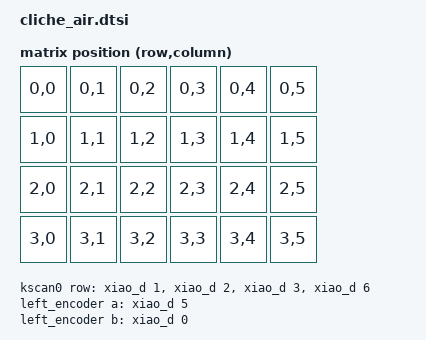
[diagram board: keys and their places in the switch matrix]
/*
 * Cliche_Air 共通ハードウェア定義
 * -----------------------------------------
 * 各サイド overlay (cliche_air_l.overlay / cliche_air_r.overlay) で
 * row-gpios, col-gpios, トラックボール, エンコーダなどを上書きする。
 */

#include <dt-bindings/zmk/matrix_transform.h>

/ {
	chosen {
		/* 
		 * デフォルトのキースキャンおよびマトリクス変換設定。
		 * これにより zmk_matrix_transform_default がリンク時に定義される。
		 */
		zmk,kscan = &kscan0;
		zmk,matrix-transform = &default_transform;
	};

	/* ---------------------------
	 * キーマトリクス変換ノード
	 * --------------------------- */
	default_transform: keymap_transform_0 {
		compatible = "zmk,matrix-transform";
		columns = <6>;
		rows = <4>;
		map = <
			RC(0,0) RC(0,1) RC(0,2) RC(0,3) RC(0,4) RC(0,5)
			RC(1,0) RC(1,1) RC(1,2) RC(1,3) RC(1,4) RC(1,5)
			RC(2,0) RC(2,1) RC(2,2) RC(2,3) RC(2,4) RC(2,5)
			RC(3,0) RC(3,1) RC(3,2) RC(3,3) RC(3,4) RC(3,5)
		>;
	};

	/* ---------------------------
	 * キースキャン定義（共通設定）
	 * --------------------------- */
	kscan0: kscan {
		compatible = "zmk,kscan-gpio-matrix";
		label = "KSCAN";
		diode-direction = "col2row";
		row-gpios = <&xiao_d 1 (GPIO_ACTIVE_HIGH | GPIO_PULL_DOWN)>,
		            <&xiao_d 2 (GPIO_ACTIVE_HIGH | GPIO_PULL_DOWN)>,
		            <&xiao_d 3 (GPIO_ACTIVE_HIGH | GPIO_PULL_DOWN)>,
		            <&xiao_d 6 (GPIO_ACTIVE_HIGH | GPIO_PULL_DOWN)>;
	};

	/* ---------------------------
	 * Rotary encoder (共通)
	 * --------------------------- */
	left_encoder: encoder_left {
		compatible = "alps,ec11";
		a-gpios = <&xiao_d 5 (GPIO_ACTIVE_HIGH | GPIO_PULL_UP)>;
		b-gpios = <&xiao_d 0 (GPIO_ACTIVE_HIGH | GPIO_PULL_UP)>;
		steps = <24>;
		status = "disabled";
	};

	right_encoder: encoder_right {
		status = "disabled";
	};

	sensors: sensors {
		compatible = "zmk,keymap-sensors";
		sensors = <&left_encoder &right_encoder>;
		triggers-per-rotation = <10>;
	};

	/* ---------------------------
	 * 外部電源制御
	 * --------------------------- */
	ext_power: ext_power {
		compatible = "zmk,ext-power-transient";
		gpios = <&gpio0 17 GPIO_ACTIVE_HIGH>;
		status = "okay";
	};

	/* ---------------------------
	 * LED ストリップ制御
	 * --------------------------- */
	led_strip: led_strip {
		compatible = "zmk,led-stripnize";
		gpios = <&gpio0 18 GPIO_ACTIVE_HIGH>;
		status = "okay";
	};

	/* ---------------------------
	 * ADC 有効化
	 * --------------------------- */
	adc_en: adc_en {
		compatible = "zephyr,adc";
		status = "okay";
	};
};
